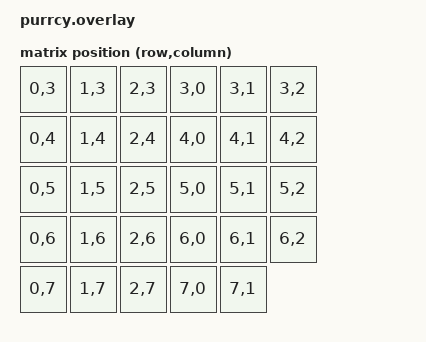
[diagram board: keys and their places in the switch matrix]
// a conditional .overlay file to test out prototoype board

#include <dt-bindings/zmk/matrix_transform.h>

/ {
    chosen {
        zmk,kscan = &kscan1;
        zmk,matrix_transform = &default_transform;
    };


    kscan1: kscan_charlie {
        compatible = "zmk,kscan-gpio-charlieplex";
        interrupt-gpios = <&xiao_d 0 (GPIO_ACTIVE_HIGH | GPIO_PULL_DOWN) >;
        gpios
            = <&xiao_d 0 (GPIO_ACTIVE_HIGH | GPIO_PULL_DOWN)>              <&xiao_d 1 (GPIO_ACTIVE_HIGH | GPIO_PULL_DOWN)>
            , <&xiao_d 2 (GPIO_ACTIVE_HIGH | GPIO_PULL_DOWN)>
            , <&xiao_d 3 (GPIO_ACTIVE_HIGH | GPIO_PULL_DOWN)>
            , <&xiao_d 4 (GPIO_ACTIVE_HIGH | GPIO_PULL_DOWN)>
            , <&xiao_d 5 (GPIO_ACTIVE_HIGH | GPIO_PULL_DOWN)>
            , <&xiao_d 8 (GPIO_ACTIVE_HIGH | GPIO_PULL_DOWN)>
            , <&xiao_d 9 (GPIO_ACTIVE_HIGH | GPIO_PULL_DOWN)>;
    };

    default_transform: matrix_transform {
        compatible = "zmk,matrix-transform";
        rows = <5>;
        columns = <6>;
        map = <
            RC(0,3) RC(1,3) RC(2,3) RC(3,0) RC(3,1) RC(3,2)
            RC(0,4) RC(1,4) RC(2,4) RC(4,0) RC(4,1) RC(4,2)
            RC(0,5) RC(1,5) RC(2,5) RC(5,0) RC(5,1) RC(5,2)
            RC(0,6) RC(1,6) RC(2,6) RC(6,0) RC(6,1) RC(6,2)
            RC(0,7) RC(1,7) RC(2,7) RC(7,0) RC(7,1)
        >;
    };
};
